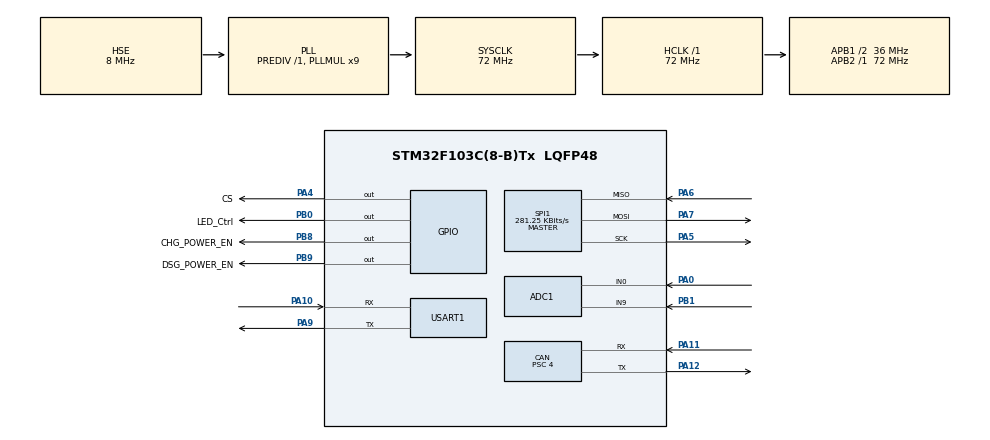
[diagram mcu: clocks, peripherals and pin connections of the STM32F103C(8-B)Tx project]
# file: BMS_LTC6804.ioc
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ADC1.Channel-0\#ChannelRegularConversion=ADC_CHANNEL_9
ADC1.NbrOfConversion=1
ADC1.NbrOfConversionFlag=1
ADC1.Rank-0\#ChannelRegularConversion=1
ADC1.SamplingTime-0\#ChannelRegularConversion=ADC_SAMPLETIME_239CYCLES_5
ADC1.master=1
CAN.ABOM=ENABLE
CAN.AWUM=ENABLE
CAN.BS1=CAN_BS1_9TQ
CAN.BS2=CAN_BS2_8TQ
CAN.CalculateBaudRate=500000
CAN.CalculateTimeBit=2000
CAN.CalculateTimeQuantum=111.11111111111111
CAN.NART=ENABLE
CAN.Prescaler=4
FREERTOS.Tasks01=defaultTask,24,128,StartDefaultTask,Default,NULL,Dynamic,NULL,NULL
IWDG.Prescaler=IWDG_PRESCALER_256
IWDG.Reload=1250
Mcu.Family=STM32F1
Mcu.Name=STM32F103C(8-B)Tx
Mcu.Package=LQFP48
NVIC.PriorityGroup=NVIC_PRIORITYGROUP_4
NVIC.TIM4_IRQn=true\:15\:0\:false\:false\:true\:false\:false\:true\:true
NVIC.TimeBase=TIM4_IRQn
NVIC.TimeBaseIP=TIM4
NVIC.USART1_IRQn=true\:5\:0\:false\:false\:true\:true\:true\:true\:true
NVIC.USB_LP_CAN1_RX0_IRQn=true\:5\:0\:false\:false\:true\:true\:true\:true\:true
PA0-WKUP.Signal=ADCx_IN0
PA10.Mode=Asynchronous
PA10.Signal=USART1_RX
PA11.GPIO_PuPd=GPIO_PULLUP
PA11.Mode=CAN_Activate
PA11.Signal=CAN_RX
PA12.Mode=CAN_Activate
PA12.Signal=CAN_TX
PA13.Mode=Serial_Wire
PA13.Signal=SYS_JTMS-SWDIO
PA14.Mode=Serial_Wire
PA14.Signal=SYS_JTCK-SWCLK
PA4.GPIO_Label=CS
PA4.GPIO_Speed=GPIO_SPEED_FREQ_HIGH
PA4.PinState=GPIO_PIN_SET
PA4.Signal=GPIO_Output
PA5.Mode=Full_Duplex_Master
PA5.Signal=SPI1_SCK
PA6.Mode=Full_Duplex_Master
PA6.Signal=SPI1_MISO
PA7.Mode=Full_Duplex_Master
PA7.Signal=SPI1_MOSI
PA9.Mode=Asynchronous
PA9.Signal=USART1_TX
PB0.GPIO_Label=LED_Ctrl
PB0.GPIO_PuPd=GPIO_NOPULL
PB0.GPIO_Speed=GPIO_SPEED_FREQ_HIGH
PB0.PinState=GPIO_PIN_RESET
PB0.Signal=GPIO_Output
PB1.Signal=ADCx_IN9
PB8.GPIO_Label=CHG_POWER_EN
PB8.GPIO_PuPd=GPIO_NOPULL
PB8.GPIO_Speed=GPIO_SPEED_FREQ_HIGH
PB8.Signal=GPIO_Output
PB9.GPIO_Label=DSG_POWER_EN
PB9.GPIO_PuPd=GPIO_NOPULL
PB9.GPIO_Speed=GPIO_SPEED_FREQ_HIGH
PB9.Signal=GPIO_Output
PD0-OSC_IN.Mode=HSE-External-Oscillator
PD0-OSC_IN.Signal=RCC_OSC_IN
PD1-OSC_OUT.Mode=HSE-External-Oscillator
PD1-OSC_OUT.Signal=RCC_OSC_OUT
ProjectManager.HeapSize=0x200
ProjectManager.StackSize=0x400
ProjectManager.TargetToolchain=MDK-ARM V5.32
RCC.ADCPresc=RCC_ADCPCLK2_DIV6
RCC.AHBFreq_Value=72000000
RCC.APB1CLKDivider=RCC_HCLK_DIV2
RCC.APB1Freq_Value=36000000
RCC.APB1TimFreq_Value=72000000
RCC.APB2Freq_Value=72000000
RCC.APB2TimFreq_Value=72000000
RCC.HCLKFreq_Value=72000000
RCC.PLLMUL=RCC_PLL_MUL9
RCC.PLLSourceVirtual=RCC_PLLSOURCE_HSE
RCC.SYSCLKFreq_VALUE=72000000
RCC.SYSCLKSource=RCC_SYSCLKSOURCE_PLLCLK
RCC.USBFreq_Value=72000000
SH.ADCx_IN0.0=ADC1_IN0,IN0
SH.ADCx_IN9.0=ADC1_IN9,IN9
SPI1.BaudRatePrescaler=SPI_BAUDRATEPRESCALER_256
SPI1.CLKPhase=SPI_PHASE_2EDGE
SPI1.CLKPolarity=SPI_POLARITY_HIGH
SPI1.CRCCalculation=SPI_CRCCALCULATION_DISABLE
SPI1.CalculateBaudRate=281.25 KBits/s
SPI1.Direction=SPI_DIRECTION_2LINES
SPI1.Mode=SPI_MODE_MASTER
SPI1.VirtualType=VM_MASTER
USART1.VirtualMode=VM_ASYNC
VP_FREERTOS_VS_CMSIS_V2.Mode=CMSIS_V2
VP_IWDG_VS_IWDG.Mode=IWDG_Activate
VP_SYS_VS_tim4.Mode=TIM4
board=custom

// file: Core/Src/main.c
/* USER CODE BEGIN Header */
/**
  ******************************************************************************
  * @file           : main.c
  * @brief          : Main program body
  ******************************************************************************
  * @attention
  *
  * Copyright (c) 2026 STMicroelectronics.
  * All rights reserved.
  *
  * This software is licensed under terms that can be found in the LICENSE file
  * in the root directory of this software component.
  * If no LICENSE file comes with this software, it is provided AS-IS.
  *
  ******************************************************************************
  */
/* USER CODE END Header */
#include "main.h"
#include "cmsis_os.h"
#include "adc.h"
#include "can.h"
#include "iwdg.h"
#include "spi.h"
#include "usart.h"
#include "gpio.h"

/* USER CODE BEGIN Includes */
#include "os.h"
/* USER CODE END Includes */

void SystemClock_Config(void);
void MX_FREERTOS_Init(void);

int main(void)
{

  /* MCU Configuration--------------------------------------------------------*/

  /* Reset of all peripherals, Initializes the Flash interface and the Systick. */
  HAL_Init();

  /* Configure the system clock */
  SystemClock_Config();

  /* Initialize all configured peripherals */
  MX_GPIO_Init();
  MX_SPI1_Init();
  MX_ADC1_Init();
  MX_USART1_UART_Init();
  MX_IWDG_Init();
  MX_CAN_Init();
  /* USER CODE BEGIN 2 */
  Os_Init();
  /* USER CODE END 2 */

  /* Init scheduler */
  osKernelInitialize();

  /* Call init function for freertos objects (in cmsis_os2.c) */
  MX_FREERTOS_Init();

  /* Start scheduler */
  osKernelStart();

  /* We should never get here as control is now taken by the scheduler */

  /* Infinite loop */
  /* USER CODE BEGIN WHILE */
  while (1)
  {

//	Os_Task();
    /* USER CODE END WHILE */

  }
}

void SystemClock_Config(void)
{
  RCC_OscInitTypeDef RCC_OscInitStruct = {0};
  RCC_ClkInitTypeDef RCC_ClkInitStruct = {0};
  RCC_PeriphCLKInitTypeDef PeriphClkInit = {0};

  /** Initializes the RCC Oscillators according to the specified parameters
  * in the RCC_OscInitTypeDef structure.
  */
  RCC_OscInitStruct.OscillatorType = RCC_OSCILLATORTYPE_LSI|RCC_OSCILLATORTYPE_HSE;
  RCC_OscInitStruct.HSEState = RCC_HSE_ON;
  RCC_OscInitStruct.HSEPredivValue = RCC_HSE_PREDIV_DIV1;
  RCC_OscInitStruct.HSIState = RCC_HSI_ON;
  RCC_OscInitStruct.LSIState = RCC_LSI_ON;
  RCC_OscInitStruct.PLL.PLLState = RCC_PLL_ON;
  RCC_OscInitStruct.PLL.PLLSource = RCC_PLLSOURCE_HSE;
  RCC_OscInitStruct.PLL.PLLMUL = RCC_PLL_MUL9;
  if (HAL_RCC_OscConfig(&RCC_OscInitStruct) != HAL_OK)
  {
    Error_Handler();
  }

  /** Initializes the CPU, AHB and APB buses clocks
  */
  RCC_ClkInitStruct.ClockType = RCC_CLOCKTYPE_HCLK|RCC_CLOCKTYPE_SYSCLK
                              |RCC_CLOCKTYPE_PCLK1|RCC_CLOCKTYPE_PCLK2;
  RCC_ClkInitStruct.SYSCLKSource = RCC_SYSCLKSOURCE_PLLCLK;
  RCC_ClkInitStruct.AHBCLKDivider = RCC_SYSCLK_DIV1;
  RCC_ClkInitStruct.APB1CLKDivider = RCC_HCLK_DIV2;
  RCC_ClkInitStruct.APB2CLKDivider = RCC_HCLK_DIV1;

  if (HAL_RCC_ClockConfig(&RCC_ClkInitStruct, FLASH_LATENCY_2) != HAL_OK)
  {
    Error_Handler();
  }
  PeriphClkInit.PeriphClockSelection = RCC_PERIPHCLK_ADC;
  PeriphClkInit.AdcClockSelection = RCC_ADCPCLK2_DIV6;
  if (HAL_RCCEx_PeriphCLKConfig(&PeriphClkInit) != HAL_OK)
  {
    Error_Handler();
  }
}

void HAL_TIM_PeriodElapsedCallback(TIM_HandleTypeDef *htim)
{
  if (htim->Instance == TIM4)
  {
    HAL_IncTick();
  }
}

void Error_Handler(void)
{
  __disable_irq();
  while (1)
  {
  }
}

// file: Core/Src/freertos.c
/* USER CODE BEGIN Header */
/**
  ******************************************************************************
  * File Name          : freertos.c
  * Description        : Code for freertos applications
  ******************************************************************************
  * @attention
  *
  * Copyright (c) 2026 STMicroelectronics.
  * All rights reserved.
  *
  * This software is licensed under terms that can be found in the LICENSE file
  * in the root directory of this software component.
  * If no LICENSE file comes with this software, it is provided AS-IS.
  *
  ******************************************************************************
  */
/* USER CODE END Header */

#include "FreeRTOS.h"
#include "task.h"
#include "main.h"
#include "cmsis_os.h"

/* USER CODE BEGIN Includes */
#include "sample.h"
#include "LTC6804.h"
#include "os.h"
#include "protect.h"
#include "Ah_Integrator_Estimator.h"
#include "state_machine.h"
#include "balance.h"
#include "store.h"
#include "usart1.h"
#include "iwdg.h"
#include "mb.h"
#include "can1.h"
#include <string.h>
/* USER CODE END Includes */

/* USER CODE BEGIN PTD */
typedef struct
{
    int16_t current;
    uint8_t count;
    uint32_t tick;
} CurrentMsg;

typedef struct
{
    uint16_t cell_mv[12];
    uint16_t total_mv;
    uint8_t pec_mask;
    uint32_t tick;
} VoltageMsg;

typedef struct
{
    uint16_t soc;
    uint16_t total_mv;
    int16_t current;
    uint8_t ov;
    uint8_t uv;
    uint8_t oc;
} ResultMsg;

typedef struct
{
    uint16_t soc;
    uint16_t total_mv;
    int16_t current;
} DataSnapshot;
/* USER CODE END PTD */

/* USER CODE BEGIN PD */
#define CMD_TEXT_LEN       32U
#define CTRL_FLAG_CMD      0x01U
#define CTRL_FLAG_RESULT   0x02U
/* USER CODE END PD */

/* USER CODE BEGIN Variables */
osMessageQueueId_t currentQueueHandle;
osMessageQueueId_t voltageQueueHandle;
osMessageQueueId_t resultQueueHandle;
osMessageQueueId_t cmdQueueHandle;
osMessageQueueId_t txQueueHandle;
osMessageQueueId_t canCmdQueueHandle;
osMutexId_t spiMutexHandle;
osMutexId_t dataMutexHandle;
osMutexId_t adcMutexHandle;
DataSnapshot dataSnapshot;
static volatile uint8_t currentAlive;
static volatile uint8_t voltageAlive;
static volatile uint8_t controlAlive;
/* 四组读完后再过这么久，电流点才入窗。0 表示还没发过电压 SPI */
#define SPI_SETTLE_MS 20U
static volatile uint32_t spiSampleAfter;
static osThreadId_t currentTaskHandle;
static osThreadId_t voltageTaskHandle;
static osThreadId_t dataTaskHandle;
/* USER CODE END Variables */
/* Definitions for defaultTask */
osThreadId_t defaultTaskHandle;
const osThreadAttr_t defaultTask_attributes = {
  .name = "defaultTask",
  .stack_size = 128 * 4,
  .priority = (osPriority_t) osPriorityNormal,
};

/* USER CODE BEGIN FunctionPrototypes */
static void CurrentTask(void *argument);
static void VoltageTask(void *argument);
static void DataTask(void *argument);
static void ControlTask(void *argument);
static void ReportTask(void *argument);
static void ModbusTask(void *argument);
static void CanTask(void *argument);
static void Control_HandleCanCommand(uint8_t cmd);
osThreadId_t controlTaskHandle;
/* USER CODE END FunctionPrototypes */

void StartDefaultTask(void *argument);

void MX_FREERTOS_Init(void); /* (MISRA C 2004 rule 8.1) */

void MX_FREERTOS_Init(void) {

  /* USER CODE BEGIN RTOS_MUTEX */
  spiMutexHandle = osMutexNew(NULL);
  dataMutexHandle = osMutexNew(NULL);
  adcMutexHandle = osMutexNew(NULL);
  /* USER CODE END RTOS_MUTEX */

  /* USER CODE BEGIN RTOS_QUEUES */
  currentQueueHandle = osMessageQueueNew(1, sizeof(CurrentMsg), NULL);
  voltageQueueHandle = osMessageQueueNew(1, sizeof(VoltageMsg), NULL);
  resultQueueHandle = osMessageQueueNew(1, sizeof(ResultMsg), NULL);
  cmdQueueHandle = osMessageQueueNew(4, CMD_TEXT_LEN, NULL);
  txQueueHandle = osMessageQueueNew(4, sizeof(TxFrame), NULL);
  canCmdQueueHandle = osMessageQueueNew(4, 1U, NULL);
  /* USER CODE END RTOS_QUEUES */

  /* Create the thread(s) */
  /* creation of defaultTask */
  defaultTaskHandle = osThreadNew(StartDefaultTask, NULL, &defaultTask_attributes);

  /* USER CODE BEGIN RTOS_THREADS */
  {
    const osThreadAttr_t currentTask_attributes = {
      .name = "current",
      .stack_size = 1024,
      .priority = osPriorityHigh,
    };
    currentTaskHandle = osThreadNew(CurrentTask, NULL, &currentTask_attributes);
  }
  {
    const osThreadAttr_t voltageTask_attributes = {
      .name = "voltage",
      .stack_size = 768,
      .priority = osPriorityNormal,
    };
    voltageTaskHandle = osThreadNew(VoltageTask, NULL, &voltageTask_attributes);
  }
  {
    const osThreadAttr_t dataTask_attributes = {
      .name = "data",
      .stack_size = 768,
      .priority = osPriorityBelowNormal,
    };
    dataTaskHandle = osThreadNew(DataTask, NULL, &dataTask_attributes);
  }
  {
    const osThreadAttr_t controlTask_attributes = {
      .name = "ctrl",
      .stack_size = 1024,
      .priority = osPriorityAboveNormal,
    };
    controlTaskHandle = osThreadNew(ControlTask, NULL, &controlTask_attributes);
  }
  {
    const osThreadAttr_t reportTask_attributes = {
      .name = "report",
      .stack_size = 1024,
      .priority = osPriorityLow,
    };
    osThreadNew(ReportTask, NULL, &reportTask_attributes);
  }
//   {
//     const osThreadAttr_t modbusTask_attributes = {
//       .name = "mb",
//       .stack_size = 1024,
//       .priority = osPriorityLow,
//     };
//     osThreadNew(ModbusTask, NULL, &modbusTask_attributes);
//   }
//   {
//     const osThreadAttr_t canTask_attributes = {
//       .name = "can",
//       .stack_size = 256,
//       .priority = osPriorityLow,
//     };
//     osThreadNew(CanTask, NULL, &canTask_attributes);
//   }
  /* USER CODE END RTOS_THREADS */

}

void StartDefaultTask(void *argument)
{
  for(;;)
  {
    osDelay(1);
  }
}

/* USER CODE BEGIN Application */
static void CurrentTask(void *argument)
{
    /* 1. 起始节拍，以及本窗口起点 */
    uint32_t tick = osKernelGetTickCount();
    uint32_t window = tick;
    CurrentMsg msg;
    CurrentMsg dropped;

    (void)argument;
    for (;;)
    {
        uint32_t now = osKernelGetTickCount();

        /* 2. 落后超过 1 ms 只对齐，不补采 */
        if ((int32_t)(now - tick) > 1)
        {
            tick = now;
        }
        /* 3. 下次在 1 ms 边界醒来 */
        tick += 1U;
        osDelayUntil(tick);

        /* 4. 先避开正在进行的 SPI。这次电压 SPI 结束前，以及结束后 20 ms 内，不入窗。1 ms 格子不挪 */
        osMutexAcquire(spiMutexHandle, osWaitForever);
        osMutexAcquire(adcMutexHandle, osWaitForever);
        if ((int32_t)(osKernelGetTickCount() - spiSampleAfter) >= 0)
        {
            Current_SamplePush();
        }
        osMutexRelease(adcMutexHandle);
        osMutexRelease(spiMutexHandle);

        /* 5. 置存活标志，报告线程喂狗后清掉 */
        currentAlive = 1U;

        /* 6. 未满 100 ms 继续采样 */
        now = osKernelGetTickCount();
        if ((int32_t)(now - window) < 100)
        {
            continue;
        }
        /* 7. 这一窗没有点，不入队 */
        if (Current_WindowCount() > 0U)
        {
            /* 8. 平均后放入队列，只留最新一条 */
            Current_CalcFromAverage();
            msg.current = Current;
            msg.count = Current_WindowCount();
            msg.tick = now;
            if (osMessageQueuePut(currentQueueHandle, &msg, 0, 0) != osOK)
            {
                (void)osMessageQueueGet(currentQueueHandle, &dropped, NULL, 0);
                (void)osMessageQueuePut(currentQueueHandle, &msg, 0, 0);
            }
            /* 9. 清窗口，下一窗只含新点 */
            Current_WindowClear();
        }
        window = now;
        /* 10. 回到步骤 2 */
    }
}

static void VoltageTask(void *argument)
{
    /* 1. 起始节拍。原始码跨周期保留，PEC 失败时沿用上一拍 */
    uint32_t tick = osKernelGetTickCount();
    static uint16_t cell_codes[12];
    VoltageMsg msg;
    VoltageMsg dropped;
    uint8_t group;
    uint8_t i;

    (void)argument;
    for (;;)
    {
        uint32_t now = osKernelGetTickCount();

        /* 2. 落后超过 100 ms 只对齐，不补发 ADCV */
        if ((int32_t)(now - tick) > 100)
        {
            tick = now;
        }
        /* 3. 下次在 100 ms 边界醒来 */
        tick += 100U;
        osDelayUntil(tick);

        /* 4. 发 ADCV。这次 SPI 没结束前，电流不入窗 */
        osMutexAcquire(spiMutexHandle, osWaitForever);
        spiSampleAfter = osKernelGetTickCount() + 100U;
        LTC6804_adcv();
        osMutexRelease(spiMutexHandle);

        /* 5. 等 4 ms，这段不持有锁 */
        osDelay(4);

        /* 6. 四组各读一次。失败的组保持旧码，并记下组号 */
        msg.pec_mask = 0U;
        for (group = 1U; group <= 4U; group++)
        {
            osMutexAcquire(spiMutexHandle, osWaitForever);
            if (LTC6804_rdcv_group(group, cell_codes) != 0)
            {
                msg.pec_mask |= (uint8_t)(1U << (group - 1U));
            }
            /* 四组读完：从这一拍再过 20 ms 才入窗 */
            if (group == 4U)
            {
                spiSampleAfter = osKernelGetTickCount() + SPI_SETTLE_MS;
            }
            osMutexRelease(spiMutexHandle);
        }

        /* 7. 换成毫伏后入队，只留最新一帧 */
        msg.total_mv = 0U;
        for (i = 0U; i < 12U; i++)
        {
            msg.cell_mv[i] = (uint16_t)(cell_codes[i] / 10U);
            msg.total_mv += msg.cell_mv[i];
        }
        msg.tick = osKernelGetTickCount();
        if (osMessageQueuePut(voltageQueueHandle, &msg, 0, 0) != osOK)
        {
            (void)osMessageQueueGet(voltageQueueHandle, &dropped, NULL, 0);
            (void)osMessageQueuePut(voltageQueueHandle, &msg, 0, 0);
        }

        /* 8. 置存活标志，报告线程喂狗后清掉 */
        voltageAlive = 1U;
        /* 9. 回到步骤 2 */
    }
}

/* 数据处理线程 */
static void DataTask(void *argument)
{
    VoltageMsg voltage;
    CurrentMsg current_msg;
    ResultMsg result;
    ResultMsg dropped;
    static int16_t last_current;
    uint8_t i;

    (void)argument;
    for (;;)
    {
        /* 1. 等一帧电压 */
        (void)osMessageQueueGet(voltageQueueHandle, &voltage, NULL, osWaitForever);

        /* 2. 取最新平均电流。没有就沿用上一拍 */
        if (osMessageQueueGet(currentQueueHandle, &current_msg, NULL, 0) == osOK)
        {
            last_current = current_msg.current;
        }

        /* 3. 写入现有全局量，供原来的估算和保护函数读取 */
        for (i = 0U; i < 12U; i++)
        {
            cell_voltage[i] = voltage.cell_mv[i];
        }
        total_voltage = voltage.total_mv;
        Current = last_current;

        /* 4. 总电压为 0 时函数直接返回，SOC 保持原值 */
        SOC_Estimator();

        /* 5. 过流看这一拍选定的电流 */
        OC_FLAG = (Current >= 2000 || Current <= -2000);

        /* 6. 过压、欠压仍由保护模型写 */
        protect_step();

        /* 7. 结果入队，只留最新一条 */
        result.soc = SOC;
        result.total_mv = total_voltage;
        result.current = Current;
        result.ov = OV_FLAG;
        result.uv = UV_FLAG;
        result.oc = OC_FLAG;
        if (osMessageQueuePut(resultQueueHandle, &result, 0, 0) != osOK)
        {
            (void)osMessageQueueGet(resultQueueHandle, &dropped, NULL, 0);
            (void)osMessageQueuePut(resultQueueHandle, &result, 0, 0);
        }

        /* 8. 抄一份给报告线程。sprintf 不在这把锁里 */
        osMutexAcquire(dataMutexHandle, osWaitForever);
        dataSnapshot.soc = SOC;
        dataSnapshot.total_mv = total_voltage;
        dataSnapshot.current = Current;
        osMutexRelease(dataMutexHandle);

        /* 9. 通知控制线程有一帧结果 */
        if (controlTaskHandle != NULL)
        {
            (void)osThreadFlagsSet(controlTaskHandle, CTRL_FLAG_RESULT);
        }
        /* 10. 回到步骤 1 */
    }
}

int Control_PostLine(const char *line)
{
    char msg[CMD_TEXT_LEN];
    uint8_t n;

    if (line == NULL || cmdQueueHandle == NULL || controlTaskHandle == NULL)
    {
        return -1;
    }
    for (n = 0U; n < (CMD_TEXT_LEN - 1U) && line[n] != '\0'; n++)
    {
        msg[n] = line[n];
    }
    if (line[n] != '\0')
    {
        return -1;
    }
    msg[n] = '\0';
    if (osMessageQueuePut(cmdQueueHandle, msg, 0, 0) != osOK)
    {
        return -1;
    }
    if (osKernelGetState() == osKernelRunning)
    {
        (void)osThreadFlagsSet(controlTaskHandle, CTRL_FLAG_CMD);
    }
    return 0;
}

/* 4. 状态和 MOS 确定后写均衡。SPI 锁只包住写配置 */
static void Control_WriteBalance(void)
{
    if (BMS_State == BMS_Standby)
    {
        balance_step();
        osMutexAcquire(spiMutexHandle, osWaitForever);
        send_balance_commend();
        osMutexRelease(spiMutexHandle);
        balance_on_flag = 1U;
    }
    else if (balance_on_flag == 1U)
    {
        osMutexAcquire(spiMutexHandle, osWaitForever);
        exit_balance_commend();
        osMutexRelease(spiMutexHandle);
        balance_on_flag = 0U;
    }
}

static void Control_HandleLine(const char *line)
{
    if (strcmp(line, "Clear") == 0)
    {
        (void)Store_Clear();
        return;
    }
    if (strcmp(line, "D") == 0)
    {
        StateRequest = Driving;
    }
    else if (strcmp(line, "C") == 0)
    {
        StateRequest = Charging;
    }
    else if (strcmp(line, "S") == 0)
    {
        StateRequest = Standby;
    }
    else
    {
        return;
    }

    /* 2. 落到待机且请求已是充电或放电时，同一次再走一步 */
    state_machine_step();
    if (BMS_State == BMS_Standby &&
        (StateRequest == Charging || StateRequest == Driving))
    {
        state_machine_step();
    }
    JudgeBMSState();
    if (strcmp(line, "S") == 0)
    {
        Store_SaveOnStandby();
    }
//    Control_WriteBalance();
}

static void Control_HandleResult(const ResultMsg *result)
{
    /* 3. 结果只步进一次 */
    CriticalFault = (boolean_T)(result->ov || result->uv || result->oc);
    state_machine_step();
    JudgeBMSState();
//    Control_WriteBalance();
}

/* 控制线程 */
static void ControlTask(void *argument)
{
    uint32_t flags;
    char line[CMD_TEXT_LEN];
    ResultMsg result;

    (void)argument;
    while (osMessageQueueGet(cmdQueueHandle, line, NULL, 0) == osOK)
    {
        Control_HandleLine(line);
    }
    for (;;)
    {
        /* 1. 命令、结果或 CAN 命令，有一个就醒 */
        flags = osThreadFlagsWait(CTRL_FLAG_CMD | CTRL_FLAG_RESULT | CTRL_FLAG_CAN,
                                  osFlagsWaitAny, osWaitForever);
        if ((int32_t)flags < 0)
        {
            continue;
        }

        /* 2. 先把已经排着的命令处理完 */
        if ((flags & CTRL_FLAG_CMD) != 0U)
        {
            while (osMessageQueueGet(cmdQueueHandle, line, NULL, 0) == osOK)
            {
                Control_HandleLine(line);
            }
        }

        /* 3. 再处理一帧保护结果 */
        if ((flags & CTRL_FLAG_RESULT) != 0U &&
            osMessageQueueGet(resultQueueHandle, &result, NULL, 0) == osOK)
        {
            Control_HandleResult(&result);
        }

        /* 4. 处理 CAN 收到的控制命令（0x200） */
        if ((flags & CTRL_FLAG_CAN) != 0U)
        {
            uint8_t can_cmd;
            while (osMessageQueueGet(canCmdQueueHandle, &can_cmd, NULL, 0) == osOK)
            {
                Control_HandleCanCommand(can_cmd);
            }
        }

        /* 5. 置存活标志，报告线程喂狗后清掉 */
        controlAlive = 1U;
        /* 6. 回到步骤 1 */
    }
}

#define STACK_MARGIN_BYTES 128U

/* 各业务线程栈的历史最小余量都不少于 128 字节才算通过 */
static uint8_t StackMarginOk(void)
{
    osThreadId_t thread[5];
    uint8_t i;

    thread[0] = currentTaskHandle;
    thread[1] = voltageTaskHandle;
    thread[2] = dataTaskHandle;
    thread[3] = controlTaskHandle;
    thread[4] = osThreadGetId();
    for (i = 0U; i < 5U; i++)
    {
        if (thread[i] == NULL || osThreadGetStackSpace(thread[i]) < STACK_MARGIN_BYTES)
        {
            return 0U;
        }
    }
    return 1U;
}

/* 报告线程 */
static void ReportTask(void *argument)
{
    /* 1. 起始节拍 */
    uint32_t tick = osKernelGetTickCount();
    DataSnapshot snap;

    (void)argument;
    for (;;)
    {
        uint32_t now = osKernelGetTickCount();

        /* 2. 落后超过 1 s 只对齐，不补发 */
        if ((int32_t)(now - tick) > 1000)
        {
            tick = now;
        }
        /* 3. 下次在 1 s 边界醒来 */
        tick += 1000U;
        osDelayUntil(tick);

        /* 4. 采温度。先避开 SPI，再和电流线程共用 adc 锁 */
        osMutexAcquire(spiMutexHandle, osWaitForever);
        osMutexAcquire(adcMutexHandle, osWaitForever);
        Temp_SamplePush();
        osMutexRelease(adcMutexHandle);
        osMutexRelease(spiMutexHandle);

        /* 5. 翻转 LED */
        LEDXToggle();

        /* 6. 锁内只复制快照。拼串和读 MOS 在锁外，放进发送队列 */
        osMutexAcquire(dataMutexHandle, osWaitForever);
        snap = dataSnapshot;
        osMutexRelease(dataMutexHandle);
       USART1_SendTxStr(snap.soc, snap.total_mv, snap.current);

        /* 7. 三条存活标志都在，且五条业务线程栈还剩至少 128 字节，才喂狗并清掉 */
        if (currentAlive != 0U && voltageAlive != 0U && controlAlive != 0U &&
            StackMarginOk() != 0U)
        {
            HAL_IWDG_Refresh(&hiwdg);
            currentAlive = 0U;
            voltageAlive = 0U;
            controlAlive = 0U;
        }
        /* 8. 回到步骤 2 */
    }
}

static void ModbusTask(void *argument)
{
    (void)argument;
    if (eMBInit(MB_RTU, 1, 0, 115200, MB_PAR_NONE) == MB_ENOERR)
    {
        (void)eMBEnable();
    }
    for (;;)
    {
        (void)eMBPoll();
        osDelay(1);
    }
}

/* CAN 控制命令处理：0x00=待机, 0x01=充电, 0x02=放电 */
static void Control_HandleCanCommand(uint8_t cmd)
{
    uint8_t save_on_standby = 0U;

    if (cmd == 0x00U)
    {
        StateRequest = Standby;
        save_on_standby = 1U;
    }
    else if (cmd == 0x01U)
    {
        StateRequest = Charging;
    }
    else if (cmd == 0x02U)
    {
        StateRequest = Driving;
    }
    else
    {
        return;
    }

    state_machine_step();
    if (BMS_State == BMS_Standby &&
        (StateRequest == Charging || StateRequest == Driving))
    {
        state_machine_step();
    }
    JudgeBMSState();
    if (save_on_standby != 0U)
    {
        Store_SaveOnStandby();
    }
}

/* CAN 周期上报线程：每 100 ms 发送一帧 0x100 */
static void CanTask(void *argument)
{
    uint32_t tick = osKernelGetTickCount();
    uint8_t buf[8];

    (void)argument;
    for (;;)
    {
        tick += 100U;
        osDelayUntil(tick);

        /* 总电压 (2B, 大端) */
        buf[0] = (uint8_t)(total_voltage >> 8);
        buf[1] = (uint8_t)(total_voltage & 0xFFU);
        /* 电流 (2B, 大端) */
        buf[2] = (uint8_t)((uint16_t)Current >> 8);
        buf[3] = (uint8_t)((uint16_t)Current & 0xFFU);
        /* SOC (1B, 0~100) */
        buf[4] = (uint8_t)(SOC / 100U);
        /* 状态 (1B): 0=待机, 1=充电, 2=放电, 3=故障 */
        buf[5] = BMS_State;
        /* 预留 (2B) */
        buf[6] = 0U;
        buf[7] = 0U;

        CAN_Send(0x100U, buf, 8U);
    }
}
/* USER CODE END Application */
